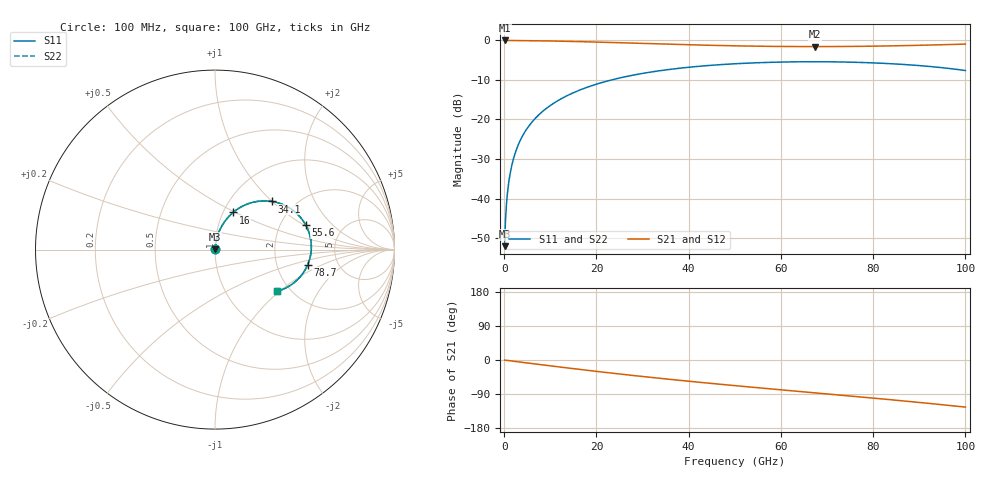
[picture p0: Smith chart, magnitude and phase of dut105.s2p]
! Touchstone file exported from HFSS 2026.1.0
!  File:  C:/ffzhzh/LocalFiles/Ansys_Project_Files/temp_train_RDL_105_1783499193_44152.aedt
!  Generated:  04:27:46 PM Jul  8, 2026
!  Design:  RDL
!  Project:  temp_train_RDL_105_1783499193_44152
! Variables:
!  h_bsmrdl = 2um
!  h_ox = 20um
!  h_rdl = 5um
!  h_sub = 80um
!  h_tmrdl = 3.59um
!  h_tsv = 80um
!  h_via = 3um
!  l_bsmrdl = 300um
!  l_sub = 812.61um
!  l_tmrdl = 412.61um
!  m_sub = 200um
!  pitch = 54.04um
!  r_tsv = 6um
!  s_tmrdl = 10um
!  w_bsmrdl = 18um
!  w_sub = 500um
!  w_tmrdl = 25.94um
!  x_tsv_center1 = 425.58um
!  x_tsv_center2 = 743.58um
!  x_tsv_center3 = 1182.13um
!  x_tsv_center4 = 1500.13um
!  x_tsv_center5 = 1938.68um
!  x_tsv_center6 = 2256.68um
# GHz S MA R 50.000000
! Terminal data exported
! Port[1] = TM_RDL1_1_T1
! Port[2] = TM_RDL1_1_T2
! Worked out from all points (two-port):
!   1000 points, 100 MHz to 100 GHz, reference 50 ohm
!   highest |S21| = -0.02 dB at 100 MHz (marker M1); lowest = -1.6 dB at 67.3 GHz (marker M2)
!   |S21| within 3 dB of the highest: start of sweep to end of sweep
!   lowest |S11| = -52.1 dB at 100 MHz (marker M3), VSWR 1.01, Z = 50.2 + j0.173 ohm
!   |S11| at or under -10 dB: start of sweep to 23.29 GHz
!   |S22| runs from -52.1 to -5.4 dB; largest |S21 - S12| = 1.5e-14
!   S11 on the Smith chart (normalised r, x): 100 MHz: 1.00, +0.00; 16 GHz: 1.11, +0.49; 34.1 GHz: 1.54, +1.00; 55.6 GHz: 2.74, +1.05; 78.7 GHz: 3.00, -0.71; 100 GHz: 1.71, -0.96
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0.1  0.002495 43.8  0.9982 -0.2  0.9982 -0.2  0.002495 43.8
! Gamma 0 0 0 0
! Port Impedance 50 0 50 0
0.8  0.01295 78.6  0.9976 -1.3  0.9976 -1.3  0.01295 78.6
1.1  0.01755 80.6  0.9975 -1.7  0.9975 -1.7  0.01755 80.6
1.4  0.02217 81.5  0.9973 -2.2  0.9973 -2.2  0.02217 81.5
1.9  0.0299 82.1  0.997 -3.0  0.997 -3.0  0.0299 82.1
2.4  0.03762 82.1  0.9966 -3.8  0.9966 -3.8  0.03762 82.1
3.8  0.0591 81.0  0.9951 -6.0  0.9951 -6.0  0.0591 81.0
5.8  0.08922 78.4  0.9921 -9.1  0.9921 -9.1  0.08922 78.4
8.5  0.1287 74.6  0.9867 -13.2  0.9867 -13.2  0.1287 74.6
11.9  0.1763 69.8  0.9784 -18.3  0.9784 -18.3  0.1763 69.8
16  0.2305 64.0  0.9662 -24.3  0.9662 -24.3  0.2304 64.0
16.8  0.2405 62.9  0.9636 -25.5  0.9636 -25.5  0.2405 62.9
24.2  0.3259 52.8  0.9374 -35.8  0.9374 -35.8  0.3259 52.8
33.4  0.4108 41.0  0.9031 -47.9  0.9031 -47.9  0.4108 41.0
34.1  0.4163 40.1  0.9006 -48.8  0.9006 -48.8  0.4163 40.1
50.1  0.5066 21.4  0.8534 -67.8  0.8534 -67.8  0.5065 21.4
55.6  0.5233 15.4  0.8434 -73.9  0.8434 -73.9  0.5233 15.4
66.7  0.5372 3.4  0.8347 -86.0  0.8347 -86.0  0.5371 3.4
67.3  0.5372 2.8  0.8346 -86.6  0.8346 -86.6  0.5372 2.8
78.7  0.523 -9.5  0.843 -99.1  0.843 -99.1  0.5229 -9.4
83.4  0.5088 -14.7  0.8511 -104.4  0.8511 -104.4  0.5088 -14.6
100  0.4159 -34.1  0.8976 -124.3  0.8976 -124.3  0.4159 -34.0
